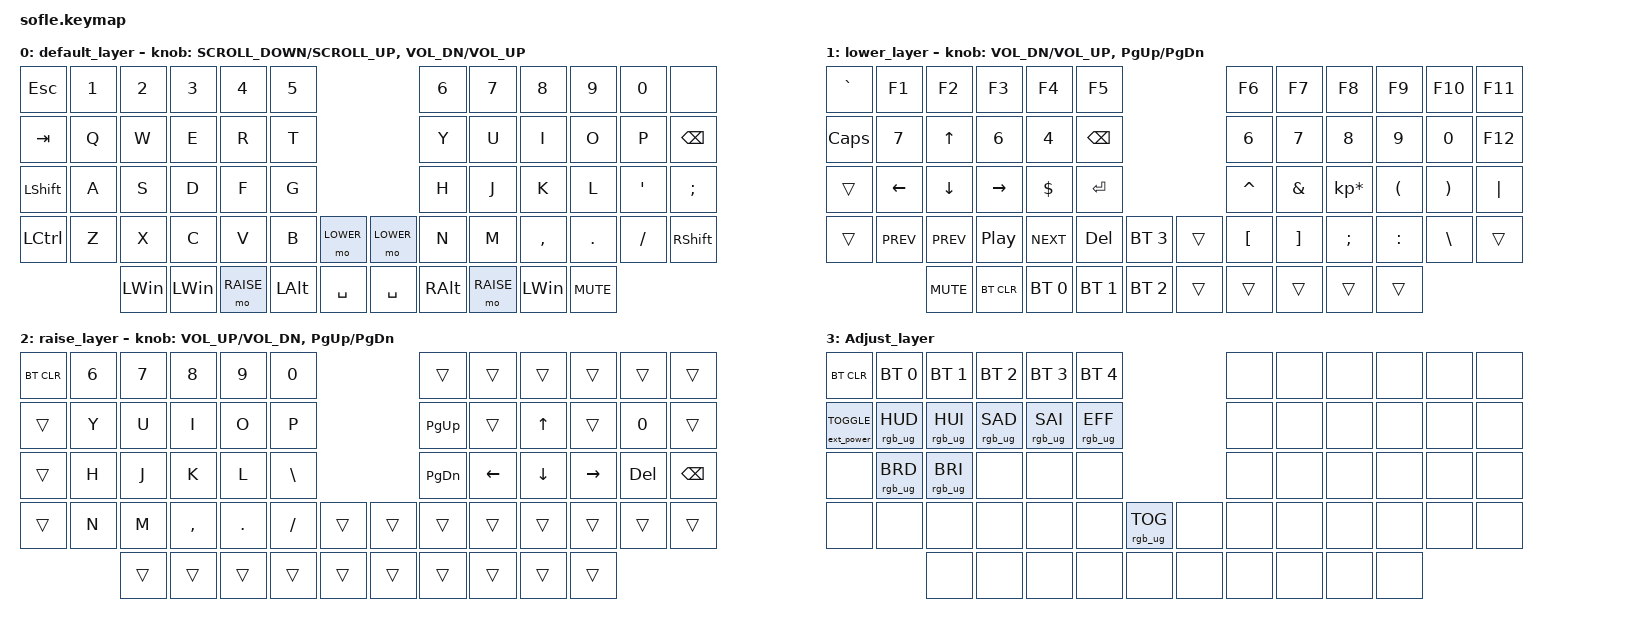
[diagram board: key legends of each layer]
/*
 * Copyright (c) 2020 The ZMK Contributors
 *
 * SPDX-License-Identifier: MIT
 */

#include <behaviors.dtsi>
#include <dt-bindings/zmk/keys.h>
#include <dt-bindings/zmk/bt.h>
#include <dt-bindings/zmk/rgb.h>
#include <dt-bindings/zmk/ext_power.h>
#include <dt-bindings/zmk/mouse.h>

#define BASE 0
#define LOWER 1
#define RAISE 2
#define ADJUST 3

/ {

   // Activate ADJUST layer by pressing raise and lower
    conditional_layers {
        compatible = "zmk,conditional-layers";
        adjust_layer {
            if-layers = <LOWER RAISE>;
            then-layer = <ADJUST>;
        };
    };

    keymap {
        compatible = "zmk,keymap";

        default_layer {
// ------------------------------------------------------------------------------------------------------------
// |  `    |  1  |  2  |  3   |  4   |  5   |                   |  6   |  7    |  8    |  9   |   0   |       |
// |  ESC  |  Q  |  W  |  E   |  R   |  T   |                   |  Y   |  U    |  I    |  O   |   P   | BKSPC |
// |  TAB  |  A  |  S  |  D   |  F   |  G   |                   |  H   |  J    |  K    |  L   |   ;   |   '   |
// | SHIFT |  Z  |  X  |  C   |  V   |  B   |  MUTE  |  |       |  N   |  M    |  ,    |  .   |   /   | SHIFT |
//               | GUI | ALT  | CTRL | LOWER|  ENTER |  | SPACE | RAISE| CTRL  | ALT   | GUI  |
            bindings = <
&kp ESC   &kp N1 &kp N2   &kp N3    &kp N4    &kp N5                           &kp N6     &kp N7    &kp N8    &kp N9   &kp N0   &none
&kp TAB   &kp Q  &kp W    &kp E     &kp R     &kp T                            &kp Y      &kp U     &kp I     &kp O    &kp P    &kp BSPC
&kp LSHFT &kp A  &kp S    &kp D     &kp F     &kp G                            &kp H      &kp J     &kp K     &kp L    &kp SQT  &kp SEMI
&kp LCTRL &kp Z  &kp X    &kp C     &kp V     &kp B    &mo LOWER    &mo LOWER      &kp N      &kp M     &kp COMMA &kp DOT  &kp FSLH &kp RSHFT
                 &kp LWIN &kp LWIN  &mo RAISE &kp LALT &kp SPACE    &kp SPACE &kp RALT  &mo RAISE &kp LWIN  &kp C_MUTE
            >;

            sensor-bindings = < &inc_dec_mwh SCROLL_DOWN SCROLL_UP &inc_dec_kp C_VOL_DN C_VOL_UP>;
        };

        lower_layer {
// TODO: Some binds are waiting for shifted keycode support.
// ------------------------------------------------------------------------------------------------------------
// |       |  F1 |  F2 |  F3  |  F4  |  F5  |                   |  F6  |  F7   |  F8   |  F9  |  F10  |  F11  |
// | `     |   1 |   2 |   3  |   4  |   5  |                   |   6  |   7   |   8   |   9  |    0  |  F12  |
// |       |  !  |  @  |  #   |  $   |  %   |                   |  ^   |  &    |  *    |  (   |   )   |   |   |
// |       |  =  |  -  |  +   |  {   |  }   |        |  |       |  [   |  ]    |  ;    |  :   |   \   |       |
//               |     |      |      |      |        |  |       |      |       |       |      |
            bindings = <
&kp GRAVE &kp F1     &kp F2     &kp F3     &kp F4       &kp F5                                &kp F6    &kp F7   &kp F8          &kp F9    &kp F10  &kp F11
&kp CAPS  &kp N7     &kp UP     &kp N6     &kp N4       &kp BSPC                              &kp N6    &kp N7   &kp N8          &kp N9    &kp N0   &kp F12
&trans    &kp LEFT   &kp DOWN   &kp RIGHT  &kp DLLR     &kp ENTER                             &kp CARET &kp AMPS &kp KP_MULTIPLY &kp LPAR  &kp RPAR &kp PIPE
&trans    &kp C_PREV &kp C_PREV &kp C_PP   &kp C_NEXT   &kp DEL      &bt BT_SEL 3   &trans    &kp LBKT  &kp RBKT &kp SEMI        &kp COLON &kp BSLH &trans
                     &kp C_MUTE &bt BT_CLR &bt BT_SEL 0 &bt BT_SEL 1 &bt BT_SEL 2   &trans    &trans    &trans   &trans          &trans
            >;

            sensor-bindings = <&inc_dec_kp C_VOL_DN C_VOL_UP &inc_dec_kp PG_UP PG_DN>;
        };

        raise_layer {
// ------------------------------------------------------------------------------------------------------------
// |BTCLR| BT1  | BT2  |  BT3  |  BT4  |  BT5 |                |      |      |       |      |       |       |
// |     | INS  | PSCR | GUI   |       |      |                | PGUP |      |   ^   |      |       |       |
// |     | ALT  | CTRL | SHIFT |       | CAPS |                | PGDN |   <- |   v   |  ->  |  DEL  | BKSPC |
// |     | UNDO | CUT  | COPY  | PASTE |      |      |  |      |      |      |       |      |       |       |
//              |      |       |       |      |      |  |      |      |      |       |      |
            bindings = <
&bt BT_CLR &kp N6 &kp N7    &kp N8    &kp N9   &kp N0                    &trans    &trans    &trans   &trans    &trans  &trans
&trans     &kp Y  &kp U     &kp I     &kp O    &kp P                     &kp PG_UP &trans    &kp UP   &trans    &kp N0  &trans
&trans     &kp H  &kp J     &kp K     &kp L    &kp BSLH                  &kp PG_DN &kp LEFT  &kp DOWN &kp RIGHT &kp DEL &kp BSPC
&trans     &kp N  &kp M     &kp COMMA &kp DOT  &kp FSLH &trans   &trans  &trans    &trans    &trans   &trans    &trans  &trans
                  &trans    &trans    &trans   &trans   &trans   &trans  &trans    &trans    &trans   &trans
            >;

            sensor-bindings = <&inc_dec_kp C_VOL_UP C_VOL_DN &inc_dec_kp PG_UP PG_DN>;
        };

// ------------------------------------------------------------------------------------------------------------
// |BTCLR | BT1   | BT2   |  BT3  |  BT4  |  BT5  |                |      |      |       |      |       |       |
// |EXTPWR|RGB_HUD|RGB_HUI|RGB_SAD|RGB_SAI|RGB_EFF|                |      |      |       |      |       |       |
// |      |RGB_BRD|RGB_BRI|       |       |       |                |      |      |       |      |       |       |
// |      |       |       |       |       |       |RGB_TOG| |      |      |      |       |      |       |       |
//                |       |       |       |       |       | |      |      |      |       |      |

        Adjust_layer {
        bindings = <
&bt BT_CLR                      &bt BT_SEL 0    &bt BT_SEL 1    &bt BT_SEL 2    &bt BT_SEL 3    &bt BT_SEL 4                                    &none &none &none &none &none &none
&ext_power EXT_POWER_TOGGLE_CMD &rgb_ug RGB_HUD &rgb_ug RGB_HUI &rgb_ug RGB_SAD &rgb_ug RGB_SAI &rgb_ug RGB_EFF                                 &none &none &none &none &none &none
&none                           &rgb_ug RGB_BRD &rgb_ug RGB_BRI &none           &none           &none                                           &none &none &none &none &none &none
&none                           &none           &none           &none           &none           &none               &rgb_ug RGB_TOG  &none      &none &none &none &none &none &none
                                                &none           &none           &none           &none               &none            &none      &none &none &none &none
        >;
        };

    };
};
